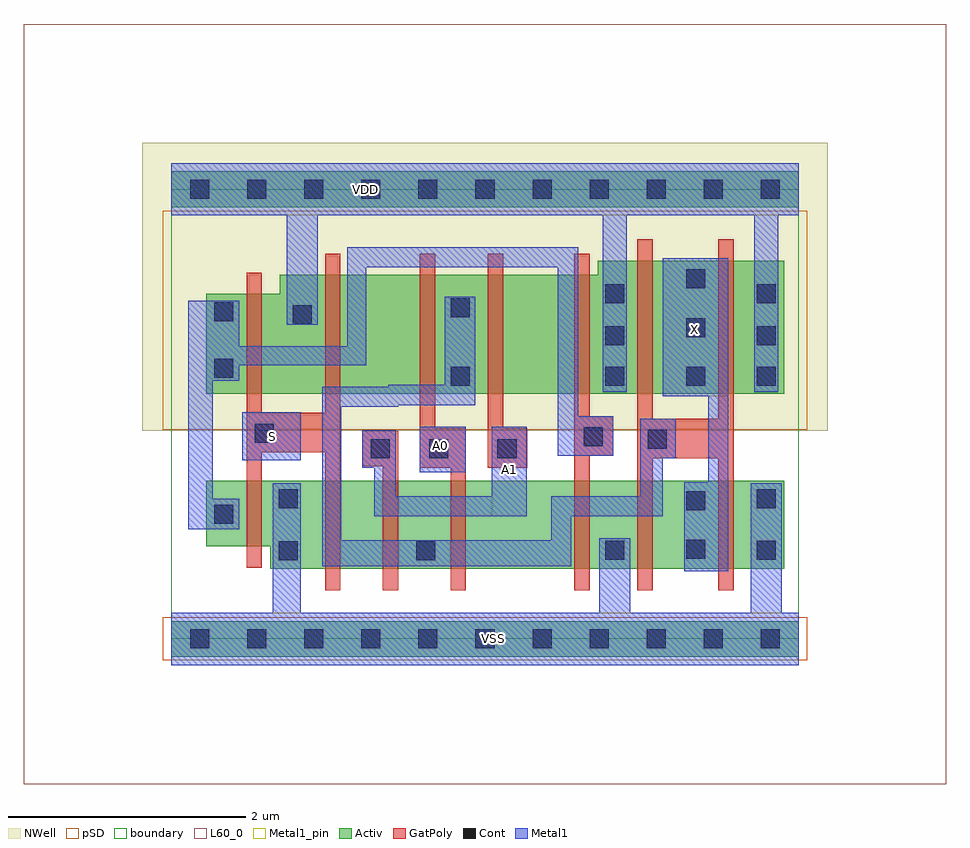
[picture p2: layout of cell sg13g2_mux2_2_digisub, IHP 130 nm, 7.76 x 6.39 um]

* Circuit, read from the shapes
.subckt sg13g2_mux2_2_digisub A0 A1 S VDD VSS X
XM1 VSS S n1 VSS sg13_lv_nmos w=0.55u l=0.13u
XM2 n2 S VSS VSS sg13_lv_nmos w=0.74u l=0.13u
XM3 n3 A1 n2 VSS sg13_lv_nmos w=0.74u l=0.13u
XM4 n4 A0 n3 VSS sg13_lv_nmos w=0.74u l=0.13u
XM5 VSS n1 n4 VSS sg13_lv_nmos w=0.74u l=0.13u
XM6 X n3 VSS VSS sg13_lv_nmos w=0.74u l=0.13u m=2
XM7 VDD S n1 VDD sg13_lv_pmos w=0.84u l=0.13u
XM8 n5 S VDD VDD sg13_lv_pmos w=1u l=0.13u
XM9 n3 A0 n5 VDD sg13_lv_pmos w=1u l=0.13u
XM10 n6 A1 n3 VDD sg13_lv_pmos w=1u l=0.13u
XM11 VDD n1 n6 VDD sg13_lv_pmos w=1u l=0.13u
XM12 X n3 VDD VDD sg13_lv_pmos w=1.12u l=0.13u m=2
.ends

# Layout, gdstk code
import gdstk
lib = gdstk.Library(unit=1e-6, precision=1e-09)
def R(c, l, rs):  # rectangles x0, y0, x1, y1
    for r in rs: c.add(gdstk.rectangle(r[:2], r[2:], *l))
def P(c, l, *ps):  # polygons
    for p in ps: c.add(gdstk.Polygon(p, *l))
Activ = (1, 0)
GatPoly = (5, 0)
Cont = (6, 0)
Metal1 = (8, 0)
Metal1_pin = (8, 2)
pSD = (14, 0)
NWell = (31, 0)
L60_0 = (60, 0)
boundary = (189, 4)

sg13g2_mux2_2_digisub = lib.new_cell('sg13g2_mux2_2_digisub')
R(sg13g2_mux2_2_digisub, Activ, [(0,-0.15,5.28,0.15), (0,3.63,5.28,3.93)])
P(sg13g2_mux2_2_digisub, Activ, [(5.155,3.18),(3.59,3.18),(3.59,3.06),(0.915,3.06),(0.915,2.9),(0.295,2.9),(0.295,2.06),(5.155,2.06)],
  [(5.155,1.33),(0.295,1.33),(0.295,0.78),(0.835,0.78),(0.835,0.59),(5.155,0.59)])
R(sg13g2_mux2_2_digisub, GatPoly, [(4.6,0.41,4.73,3.36), (4.05,1.52,4.73,1.85)])
P(sg13g2_mux2_2_digisub, GatPoly, [(1.425,3.24),(1.295,3.24),(1.295,1.9),(0.765,1.9),(0.765,3.08),(0.635,3.08),(0.635,0.6),(0.765,0.6),(0.765,1.57),(1.295,1.57),(1.295,0.41),(1.425,0.41)],
  [(4.25,1.85),(4.05,1.85),(4.05,3.36),(3.92,3.36),(3.92,0.41),(4.05,0.41),(4.05,1.52),(4.25,1.52)],
  [(3.72,1.87),(3.52,1.87),(3.52,3.24),(3.39,3.24),(3.39,0.41),(3.52,0.41),(3.52,1.54),(3.72,1.54)],
  [(2.995,1.77),(2.795,1.77),(2.795,3.24),(2.665,3.24),(2.665,1.44),(2.995,1.44)],
  [(2.48,1.77),(2.22,1.77),(2.22,3.24),(2.09,3.24),(2.09,1.44),(2.35,1.44),(2.35,0.41),(2.48,0.41)],
  [(1.91,1.75),(1.61,1.75),(1.61,1.45),(1.78,1.45),(1.78,0.41),(1.91,0.41)])
R(sg13g2_mux2_2_digisub, Cont, [(0.16,-0.08,0.32,0.08), (0.16,-0.08,0.32,0.08), (0.64,-0.08,0.8,0.08), (0.64,-0.08,0.8,0.08), (1.12,-0.08,1.28,0.08), (1.12,-0.08,1.28,0.08), (1.6,-0.08,1.76,0.08), (1.6,-0.08,1.76,0.08), (2.08,-0.08,2.24,0.08), (2.08,-0.08,2.24,0.08), (2.56,-0.08,2.72,0.08), (2.56,-0.08,2.72,0.08), (3.04,-0.08,3.2,0.08), (3.04,-0.08,3.2,0.08), (3.52,-0.08,3.68,0.08), (3.52,-0.08,3.68,0.08), (4,-0.08,4.16,0.08), (4,-0.08,4.16,0.08), (4.48,-0.08,4.64,0.08), (4.48,-0.08,4.64,0.08), (4.96,-0.08,5.12,0.08), (0.905,0.66,1.065,0.82), (2.06,0.66,2.22,0.82), (3.65,0.665,3.81,0.825), (4.925,0.665,5.085,0.825), (4.33,0.675,4.49,0.835), (0.365,0.97,0.525,1.13), (4.33,1.08,4.49,1.24), (0.905,1.1,1.065,1.26), (4.925,1.1,5.085,1.26), (1.68,1.52,1.84,1.68), (2.17,1.52,2.33,1.68), (2.745,1.52,2.905,1.68), (4.01,1.6,4.17,1.76), (3.47,1.62,3.63,1.78), (0.705,1.65,0.865,1.81), (2.35,2.13,2.51,2.29), (3.65,2.13,3.81,2.29), (4.33,2.13,4.49,2.29), (4.925,2.13,5.085,2.29), (0.365,2.195,0.525,2.355), (3.65,2.47,3.81,2.63), (4.925,2.47,5.085,2.63), (4.33,2.535,4.49,2.695), (1.025,2.645,1.185,2.805), (0.365,2.67,0.525,2.83), (2.35,2.705,2.51,2.865), (3.65,2.82,3.81,2.98), (4.925,2.82,5.085,2.98), (4.33,2.95,4.49,3.11), (0.16,3.7,0.32,3.86), (0.16,3.7,0.32,3.86), (0.64,3.7,0.8,3.86), (0.64,3.7,0.8,3.86), (1.12,3.7,1.28,3.86), (1.12,3.7,1.28,3.86), (1.6,3.7,1.76,3.86), (1.6,3.7,1.76,3.86), (2.08,3.7,2.24,3.86), (2.08,3.7,2.24,3.86), (2.56,3.7,2.72,3.86), (2.56,3.7,2.72,3.86), (3.04,3.7,3.2,3.86), (3.04,3.7,3.2,3.86), (3.52,3.7,3.68,3.86), (3.52,3.7,3.68,3.86), (4,3.7,4.16,3.86), (4,3.7,4.16,3.86), (4.48,3.7,4.64,3.86), (4.48,3.7,4.64,3.86), (4.96,3.7,5.12,3.86)])
R(sg13g2_mux2_2_digisub, Metal1, [(2.09,1.4,2.48,1.785), (0.6,1.5,1.09,1.905)])
P(sg13g2_mux2_2_digisub, Metal1, [(5.28,0.22),(5.135,0.22),(5.135,1.31),(4.875,1.31),(4.875,0.22),(3.86,0.22),(3.86,0.845),(3.6,0.845),(3.6,0.22),(1.09,0.22),(1.09,1.31),(0.855,1.31),(0.855,0.22),(0,0.22),(0,-0.22),(5.28,-0.22)],
  [(5.28,4),(0,4),(0,3.56),(0.975,3.56),(0.975,2.64),(1.235,2.64),(1.235,3.56),(3.63,3.56),(3.63,2.08),(3.83,2.08),(3.83,3.56),(4.905,3.56),(4.905,2.08),(5.105,2.08),(5.105,3.56),(5.28,3.56)],
  [(4.685,3.2),(4.135,3.2),(4.135,2.04),(4.515,2.04),(4.515,1.315),(4.315,1.315),(4.315,0.57),(4.685,0.57)],
  [(3.72,1.87),(3.425,1.87),(3.425,3.295),(1.48,3.295),(1.48,2.46),(0.575,2.46),(0.575,2.845),(0.145,2.845),(0.145,0.92),(0.575,0.92),(0.575,1.18),(0.35,1.18),(0.35,2.17),(0.575,2.17),(0.575,2.3),(1.64,2.3),(1.64,3.125),(3.25,3.125),(3.25,1.54),(3.72,1.54)],
  [(2.99,1.785),(2.695,1.785),(2.695,1.2),(1.89,1.2),(1.89,1.755),(1.61,1.755),(1.61,1.44),(1.71,1.44),(1.71,1.03),(2.99,1.03)],
  [(4.245,1.85),(3.945,1.85),(3.945,1.2),(3.195,1.2),(3.195,0.83),(1.43,0.83),(1.43,1.95),(1.91,1.95),(1.91,1.965),(2.56,1.965),(2.56,2.875),(2.3,2.875),(2.3,2.135),(1.825,2.135),(1.825,2.12),(1.27,2.12),(1.27,0.61),(3.365,0.61),(3.365,1.03),(4.135,1.03),(4.135,1.52),(4.245,1.52)])
R(sg13g2_mux2_2_digisub, Metal1_pin, [(0,-0.22,5.28,0.22), (2.695,1.03,2.99,1.785), (2.09,1.4,2.48,1.785), (0.6,1.5,1.09,1.905), (4.135,2.04,4.685,3.2), (0,3.56,5.28,4)])
R(sg13g2_mux2_2_digisub, pSD, [(-0.07,-0.18,5.35,0.18), (-0.07,1.76,5.35,3.6)])
R(sg13g2_mux2_2_digisub, NWell, [(-0.24,1.75,5.52,4.17)])
R(sg13g2_mux2_2_digisub, L60_0, [(-1.24,-1.22,6.52,5.17)])
R(sg13g2_mux2_2_digisub, boundary, [(0,0,5.28,3.78)])
sg13g2_mux2_2_digisub.add(gdstk.Label('A1', (2.85,1.425), layer=8, texttype=25))
sg13g2_mux2_2_digisub.add(gdstk.Label('X', (4.405,2.6), layer=8, texttype=25))
sg13g2_mux2_2_digisub.add(gdstk.Label('S', (0.85,1.705), layer=8, texttype=25))
sg13g2_mux2_2_digisub.add(gdstk.Label('VDD', (1.635,3.78), layer=8, texttype=25))
sg13g2_mux2_2_digisub.add(gdstk.Label('VSS', (2.71,0), layer=8, texttype=25))
sg13g2_mux2_2_digisub.add(gdstk.Label('A0', (2.27,1.63), layer=8, texttype=25))

lib.write_gds('sg13g2_mux2_2_digisub.gds')
